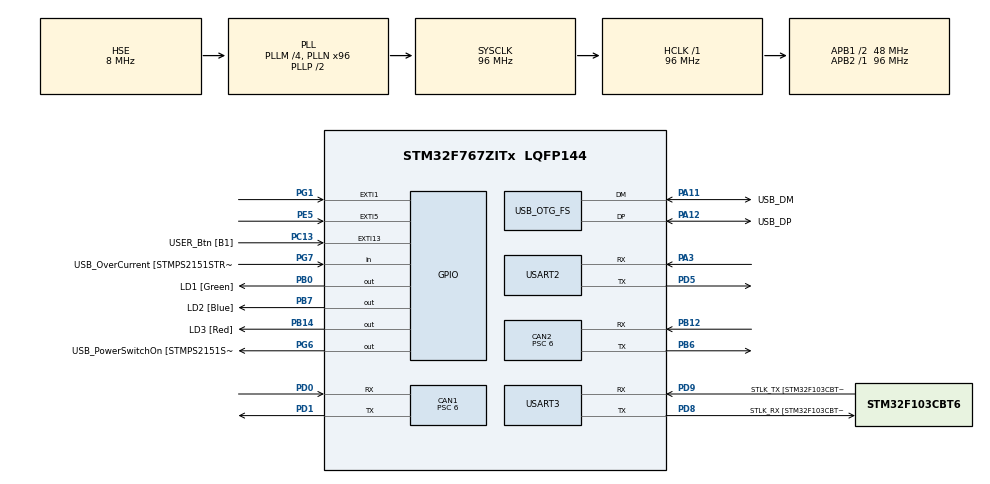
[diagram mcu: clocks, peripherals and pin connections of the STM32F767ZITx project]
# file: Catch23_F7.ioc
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CAN1.BS1=CAN_BS1_6TQ
CAN1.CalculateBaudRate=1000000
CAN1.CalculateTimeBit=1000
CAN1.CalculateTimeQuantum=125.0
CAN1.Prescaler=6
CAN1.TXFP=ENABLE
CAN2.BS1=CAN_BS1_6TQ
CAN2.CalculateBaudRate=1000000
CAN2.CalculateTimeBit=1000
CAN2.CalculateTimeQuantum=125.0
CAN2.Prescaler=6
CAN2.TXFP=ENABLE
Dma.Request0=USART3_RX
Dma.Request1=USART3_TX
Dma.Request2=USART2_RX
Dma.Request3=USART2_TX
Dma.USART2_RX.2.Direction=DMA_PERIPH_TO_MEMORY
Dma.USART2_RX.2.FIFOMode=DMA_FIFOMODE_DISABLE
Dma.USART2_RX.2.Instance=DMA1_Stream5
Dma.USART2_RX.2.MemDataAlignment=DMA_MDATAALIGN_BYTE
Dma.USART2_RX.2.MemInc=DMA_MINC_ENABLE
Dma.USART2_RX.2.Mode=DMA_NORMAL
Dma.USART2_RX.2.PeriphDataAlignment=DMA_PDATAALIGN_BYTE
Dma.USART2_RX.2.PeriphInc=DMA_PINC_DISABLE
Dma.USART2_RX.2.Priority=DMA_PRIORITY_LOW
Dma.USART2_TX.3.Direction=DMA_MEMORY_TO_PERIPH
Dma.USART2_TX.3.FIFOMode=DMA_FIFOMODE_DISABLE
Dma.USART2_TX.3.Instance=DMA1_Stream6
Dma.USART2_TX.3.MemDataAlignment=DMA_MDATAALIGN_BYTE
Dma.USART2_TX.3.MemInc=DMA_MINC_ENABLE
Dma.USART2_TX.3.Mode=DMA_NORMAL
Dma.USART2_TX.3.PeriphDataAlignment=DMA_PDATAALIGN_BYTE
Dma.USART2_TX.3.PeriphInc=DMA_PINC_DISABLE
Dma.USART2_TX.3.Priority=DMA_PRIORITY_LOW
Dma.USART3_RX.0.Direction=DMA_PERIPH_TO_MEMORY
Dma.USART3_RX.0.FIFOMode=DMA_FIFOMODE_DISABLE
Dma.USART3_RX.0.Instance=DMA1_Stream1
Dma.USART3_RX.0.MemDataAlignment=DMA_MDATAALIGN_BYTE
Dma.USART3_RX.0.MemInc=DMA_MINC_ENABLE
Dma.USART3_RX.0.Mode=DMA_CIRCULAR
Dma.USART3_RX.0.PeriphDataAlignment=DMA_PDATAALIGN_BYTE
Dma.USART3_RX.0.PeriphInc=DMA_PINC_DISABLE
Dma.USART3_RX.0.Priority=DMA_PRIORITY_VERY_HIGH
Dma.USART3_TX.1.Direction=DMA_MEMORY_TO_PERIPH
Dma.USART3_TX.1.FIFOMode=DMA_FIFOMODE_DISABLE
Dma.USART3_TX.1.Instance=DMA1_Stream3
Dma.USART3_TX.1.MemDataAlignment=DMA_MDATAALIGN_BYTE
Dma.USART3_TX.1.MemInc=DMA_MINC_ENABLE
Dma.USART3_TX.1.Mode=DMA_NORMAL
Dma.USART3_TX.1.PeriphDataAlignment=DMA_PDATAALIGN_BYTE
Dma.USART3_TX.1.PeriphInc=DMA_PINC_DISABLE
Dma.USART3_TX.1.Priority=DMA_PRIORITY_VERY_HIGH
FREERTOS.Tasks01=mrosTask,40,4500,StartMrosTask,Default,NULL,Static,mrosTaskBuffer,mrosTaskControlBlock;LEDTask,8,512,StartLEDTask,Default,NULL,Static,LEDTaskBuffer,LEDTaskControlBlock
FREERTOS.Timers01=C620Timer,C620TimerCallback,osTimerPeriodic,Default,NULL,Static,C620TimerControlBlock
FREERTOS.configENABLE_FPU=1
Mcu.Family=STM32F7
Mcu.Name=STM32F767ZITx
Mcu.Package=LQFP144
NVIC.CAN1_RX0_IRQn=true\:5\:0\:false\:false\:true\:true\:true\:true\:true
NVIC.CAN1_RX1_IRQn=true\:5\:0\:false\:false\:true\:true\:true\:true\:true
NVIC.CAN1_TX_IRQn=true\:5\:0\:false\:false\:true\:true\:true\:true\:true
NVIC.CAN2_RX0_IRQn=true\:5\:0\:false\:false\:true\:true\:true\:true\:true
NVIC.CAN2_RX1_IRQn=true\:5\:0\:false\:false\:true\:true\:true\:true\:true
NVIC.CAN2_TX_IRQn=true\:5\:0\:false\:false\:true\:true\:true\:true\:true
NVIC.DMA1_Stream1_IRQn=true\:5\:0\:false\:false\:true\:true\:false\:true\:true
NVIC.DMA1_Stream3_IRQn=true\:5\:0\:false\:false\:true\:true\:false\:true\:true
NVIC.DMA1_Stream5_IRQn=true\:5\:0\:false\:false\:true\:true\:false\:true\:true
NVIC.DMA1_Stream6_IRQn=true\:5\:0\:false\:false\:true\:true\:false\:true\:true
NVIC.OTG_FS_IRQn=true\:5\:0\:false\:false\:true\:true\:false\:true\:true
NVIC.PriorityGroup=NVIC_PRIORITYGROUP_4
NVIC.TIM1_UP_TIM10_IRQn=true\:15\:0\:false\:false\:true\:false\:false\:true\:true
NVIC.TimeBase=TIM1_UP_TIM10_IRQn
NVIC.TimeBaseIP=TIM1
NVIC.USART2_IRQn=true\:5\:0\:false\:false\:true\:true\:true\:true\:true
NVIC.USART3_IRQn=true\:5\:0\:false\:false\:true\:true\:true\:true\:true
PA1.GPIO_Label=RMII_REF_CLK [LAN8742A-CZ-TR_REFCLK0]
PA1.Signal=ETH_REF_CLK
PA10.GPIO_Label=USB_ID
PA10.Signal=USB_OTG_FS_ID
PA11.GPIO_Label=USB_DM
PA11.Mode=Device_Only
PA11.Signal=USB_OTG_FS_DM
PA12.GPIO_Label=USB_DP
PA12.Mode=Device_Only
PA12.Signal=USB_OTG_FS_DP
PA13.GPIO_Label=TMS
PA13.Mode=Serial_Wire
PA13.Signal=SYS_JTMS-SWDIO
PA14.GPIO_Label=TCK
PA14.Mode=Serial_Wire
PA14.Signal=SYS_JTCK-SWCLK
PA2.GPIO_Label=RMII_MDIO [LAN8742A-CZ-TR_MDIO]
PA2.Signal=ETH_MDIO
PA3.Mode=Asynchronous
PA3.Signal=USART2_RX
PA7.GPIO_Label=RMII_CRS_DV [LAN8742A-CZ-TR_CRS_DV]
PA7.Signal=ETH_CRS_DV
PA8.GPIO_Label=USB_SOF [TP1]
PA8.Signal=USB_OTG_FS_SOF
PA9.GPIO_Label=USB_VBUS
PA9.Signal=USB_OTG_FS_VBUS
PB0.GPIO_Label=LD1 [Green]
PB0.Signal=GPIO_Output
PB12.Mode=CAN_Activate
PB12.Signal=CAN2_RX
PB13.GPIO_Label=RMII_TXD1 [LAN8742A-CZ-TR_TXD1]
PB13.Signal=ETH_TXD1
PB14.GPIO_Label=LD3 [Red]
PB14.Signal=GPIO_Output
PB3.GPIO_Label=SWO
PB3.Signal=SYS_JTDO-SWO
PB6.GPIO_FM6=__NULL
PB6.Mode=CAN_Activate
PB6.Signal=CAN2_TX
PB7.GPIO_Label=LD2 [Blue]
PB7.Signal=GPIO_Output
PC1.GPIO_Label=RMII_MDC [LAN8742A-CZ-TR_MDC]
PC1.Signal=ETH_MDC
PC13.GPIO_Label=USER_Btn [B1]
PC13.Signal=GPXTI13
PC14/OSC32_IN.Mode=LSE-External-Oscillator
PC14/OSC32_IN.Signal=RCC_OSC32_IN
PC15/OSC32_OUT.Mode=LSE-External-Oscillator
PC15/OSC32_OUT.Signal=RCC_OSC32_OUT
PC4.GPIO_Label=RMII_RXD0 [LAN8742A-CZ-TR_RXD0]
PC4.Signal=ETH_RXD0
PC5.GPIO_Label=RMII_RXD1 [LAN8742A-CZ-TR_RXD1]
PC5.Signal=ETH_RXD1
PD0.Mode=CAN_Activate
PD0.Signal=CAN1_RX
PD1.Mode=CAN_Activate
PD1.Signal=CAN1_TX
PD5.Mode=Asynchronous
PD5.Signal=USART2_TX
PD8.GPIO_Label=STLK_RX [STM32F103CBT6_PA3]
PD8.Mode=Asynchronous
PD8.Signal=USART3_TX
PD9.GPIO_Label=STLK_TX [STM32F103CBT6_PA2]
PD9.Mode=Asynchronous
PD9.Signal=USART3_RX
PE5.Signal=GPXTI5
PG1.Signal=GPXTI1
PG11.GPIO_Label=RMII_TX_EN [LAN8742A-CZ-TR_TXEN]
PG11.Signal=ETH_TX_EN
PG13.GPIO_Label=RMII_TXD0 [LAN8742A-CZ-TR_TXD0]
PG13.Signal=ETH_TXD0
PG6.GPIO_Label=USB_PowerSwitchOn [STMPS2151STR_EN]
PG6.Signal=GPIO_Output
PG7.GPIO_Label=USB_OverCurrent [STMPS2151STR_FAULT]
PG7.Signal=GPIO_Input
PH0/OSC_IN.GPIO_Label=MCO [STM32F103CBT6_PA8]
PH0/OSC_IN.Mode=HSE-External-Oscillator
PH0/OSC_IN.Signal=RCC_OSC_IN
PH1/OSC_OUT.Mode=HSE-External-Oscillator
PH1/OSC_OUT.Signal=RCC_OSC_OUT
ProjectManager.HeapSize=0x200
ProjectManager.StackSize=0x400
ProjectManager.TargetToolchain=STM32CubeIDE
RCC.48MHZClocksFreq_Value=24000000
RCC.AHBFreq_Value=96000000
RCC.APB1CLKDivider=RCC_HCLK_DIV2
RCC.APB1Freq_Value=48000000
RCC.APB1TimFreq_Value=96000000
RCC.APB2Freq_Value=96000000
RCC.APB2TimFreq_Value=96000000
RCC.CortexFreq_Value=96000000
RCC.HCLKFreq_Value=96000000
RCC.HSE_VALUE=8000000
RCC.HSI_VALUE=16000000
RCC.PLLM=4
RCC.PLLMUL=RCC_PLL_MUL9
RCC.PLLN=96
RCC.PLLQ=4
RCC.PRESCALERUSB=RCC_USBCLKSOURCE_PLL_DIV1_5
RCC.SYSCLKFreq_VALUE=96000000
RCC.SYSCLKSource=RCC_SYSCLKSOURCE_PLLCLK
RCC.SYSCLKSourceVirtual=RCC_SYSCLKSOURCE_PLLCLK
RCC.USBFreq_Value=48000000
RCC.VCOOutputFreq_Value=192000000
USART2.VirtualMode-Asynchronous=VM_ASYNC
USART3.VirtualMode-Asynchronous=VM_ASYNC
USB_DEVICE.CLASS_NAME_FS=CDC
USB_DEVICE.VirtualMode-CDC_FS=Cdc
USB_DEVICE.VirtualModeFS=Cdc_FS
USB_OTG_FS.VirtualMode=Device_Only
VP_FREERTOS_VS_CMSIS_V2.Mode=CMSIS_V2
VP_SYS_VS_tim1.Mode=TIM1
VP_USB_DEVICE_VS_USB_DEVICE_CDC_FS.Mode=CDC_FS
board=NUCLEO-F767ZI

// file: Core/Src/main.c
/* USER CODE BEGIN Header */
/**
  ******************************************************************************
  * @file           : main.c
  * @brief          : Main program body
  ******************************************************************************
  * @attention
  *
  * Copyright (c) 2023 STMicroelectronics.
  * All rights reserved.
  *
  * This software is licensed under terms that can be found in the LICENSE file
  * in the root directory of this software component.
  * If no LICENSE file comes with this software, it is provided AS-IS.
  *
  ******************************************************************************
  */
/* USER CODE END Header */
#include "main.h"
#include "cmsis_os.h"
#include "can.h"
#include "dma.h"
#include "usart.h"
#include "usb_device.h"
#include "gpio.h"

/* USER CODE BEGIN Includes */
#include <rmw_microros/rmw_microros.h>
#include "can_utils.h"
#include "stdio.h"

/* USER CODE END Includes */

/* USER CODE BEGIN PD */
#define DISABLE_CAN_WAIT_CONNECT 0
#define DISABLE_C620_WAIT_CONNECT 0
/* USER CODE END PD */

void SystemClock_Config(void);
void MX_FREERTOS_Init(void);
/* USER CODE BEGIN PFP */
#ifdef __GNUC__
#define PUTCHAR_PROTOTYPE int __io_putchar(uint8_t ch)
#else
#define PUTCHAR_PROTOTYPE int fputc(int ch, FILE *f)
#endif /* __GNUC__ */

PUTCHAR_PROTOTYPE {
    HAL_UART_Transmit(&huart2, &ch, 1, 500);
    return ch;
}

void HAL_CAN_TxMailbox0CompleteCallback(CAN_HandleTypeDef *hcan){
    C620_WhenTxMailboxCompleteCallbackCalled(hcan);
    CANLib_WhenTxMailbox0_1_2CompleteCallbackCalled(hcan);
}

void HAL_CAN_TxMailbox0AbortCallback(CAN_HandleTypeDef *hcan){
    C620_WhenTxMailboxAbortCallbackCalled(hcan);
    CANLib_WhenTxMailbox0_1_2AbortCallbackCalled(hcan);
}

void HAL_CAN_TxMailbox1CompleteCallback(CAN_HandleTypeDef *hcan){
    C620_WhenTxMailboxCompleteCallbackCalled(hcan);
    CANLib_WhenTxMailbox0_1_2CompleteCallbackCalled(hcan);
}

void HAL_CAN_TxMailbox1AbortCallback(CAN_HandleTypeDef *hcan){
    C620_WhenTxMailboxAbortCallbackCalled(hcan);
    CANLib_WhenTxMailbox0_1_2AbortCallbackCalled(hcan);
}

void HAL_CAN_TxMailbox2CompleteCallback(CAN_HandleTypeDef *hcan){
    C620_WhenTxMailboxCompleteCallbackCalled(hcan);
    CANLib_WhenTxMailbox0_1_2CompleteCallbackCalled(hcan);
}

void HAL_CAN_TxMailbox2AbortCallback(CAN_HandleTypeDef *hcan){
    C620_WhenTxMailboxAbortCallbackCalled(hcan);
    CANLib_WhenTxMailbox0_1_2AbortCallbackCalled(hcan);
}

void HAL_CAN_RxFifo0MsgPendingCallback(CAN_HandleTypeDef *hcan){
    WhenCANRxFifo0MsgPending(hcan, &num_of_devices);
}

void HAL_CAN_RxFifo1MsgPendingCallback(CAN_HandleTypeDef *hcan){
    C620_WhenCANRxFifo1MsgPending(hcan);
}
/* USER CODE END PFP */

int main(void)
{

  /* MCU Configuration--------------------------------------------------------*/

  /* Reset of all peripherals, Initializes the Flash interface and the Systick. */
  HAL_Init();

  /* Configure the system clock */
  SystemClock_Config();

  /* Initialize all configured peripherals */
  MX_GPIO_Init();
  MX_DMA_Init();
  MX_CAN1_Init();
  MX_CAN2_Init();
  MX_USART3_UART_Init();
  MX_USART2_UART_Init();
  /* USER CODE BEGIN 2 */
    setbuf(stdout, NULL);
    setbuf(stderr, NULL);

    /*
     * ===== CANLib Settings =====
     * */
    HAL_GPIO_TogglePin(GPIOB, GPIO_PIN_14);  // LD3 (RED) ON
    printf("Start Initializing CAN System:Begin\n\r");

    num_of_devices.mcmd3 = NUM_OF_MCMD3;
    num_of_devices.mcmd4 = 0;
//    num_of_devices.mcmd4 = NUM_OF_MCMD4;  // TODO: こっちが正しい
    num_of_devices.air = 2;  // TODO: 2にする

    CAN_SystemInit(&hcan2); // F7のCAN通信のinit
    printf("Start Initializing CAN System:End\n\r");
    if(!DISABLE_CAN_WAIT_CONNECT)CAN_WaitConnect(&num_of_devices);
    HAL_GPIO_TogglePin(GPIOB, GPIO_PIN_7);  // LD2 (Blue) ON

    // mcmd[0] -> z
    if(NUM_OF_MCMD3 != 0) {
        // Z軸
        mcmd_handlers[0].device.node_type = NODE_MCMD3;
        mcmd_handlers[0].device.node_id = 1;
        mcmd_handlers[0].device.device_num = 0;
        mcmd_handlers[0].ctrl_param.ctrl_type = MCMD_CTRL_POS;
        mcmd_handlers[0].ctrl_param.feedback = MCMD_FB_ENABLE;
        mcmd_handlers[0].fb_type = MCMD_FB_POS;
        mcmd_handlers[0].limit_sw_type = LIMIT_SW_NO;
        mcmd_handlers[0].enc_dir = MCMD_DIR_FW;
        mcmd_handlers[0].rot_dir = MCMD_DIR_FW;
        mcmd_handlers[0].calib = CALIBRATION_ENABLE;
        mcmd_handlers[0].ctrl_param.gravity_compensation = GRAVITY_COMPENSATION_DISABLE;
        mcmd_handlers[0].calib_duty = -0.6f;
        mcmd_handlers[0].quant_per_unit = 90.0f / 1024.0f;
        mcmd_handlers[0].ctrl_param.accel_limit = ACCEL_LIMIT_ENABLE;
        mcmd_handlers[0].ctrl_param.accel_limit_size = 5.0f;
        mcmd_handlers[0].ctrl_param.PID_param.kp = 0.12f;

        MCMD_init(&mcmd_handlers[0]);
        MCMD_Calib(&mcmd_handlers[0]);  // キャリブレーションを行う
        HAL_Delay(3000);
        MCMD_SetTarget(&mcmd_handlers[0], 0.0f);  // 目標値(0.0)を設定
        // TODO: 稼働限界は226mm
        MCMD_Control_Enable(&mcmd_handlers[0]);  // 制御開始
    }

    if(NUM_OF_MCMD4 != 0){  // TODO: 後半の0を抜く
        // 整列機構用
        mcmd_handlers[1].device.node_type = NODE_MCMD4;
        mcmd_handlers[1].device.node_id = 2;
        mcmd_handlers[1].device.device_num = 0;
        mcmd_handlers[1].ctrl_param.ctrl_type = MCMD_CTRL_POS;
        mcmd_handlers[1].ctrl_param.feedback = MCMD_FB_ENABLE;
        mcmd_handlers[1].fb_type = MCMD_FB_POS;
        mcmd_handlers[1].limit_sw_type = LIMIT_SW_NO;  // TODO: ok
        mcmd_handlers[1].enc_dir = MCMD_DIR_FW;  // TODO: 確認 (多分ok)
        mcmd_handlers[1].rot_dir = MCMD_DIR_BC;  // TODO: 確認 (多分ok)
        mcmd_handlers[1].calib = CALIBRATION_ENABLE;
        mcmd_handlers[1].ctrl_param.gravity_compensation = GRAVITY_COMPENSATION_DISABLE;
        mcmd_handlers[1].calib_duty = -0.5f;  // TODO: 調整
        mcmd_handlers[1].quant_per_unit = 155.0f / 1024.0f;
        mcmd_handlers[1].ctrl_param.accel_limit = ACCEL_LIMIT_ENABLE;
        mcmd_handlers[1].ctrl_param.accel_limit_size = 5.0f;  // TODO: 調整
        mcmd_handlers[1].ctrl_param.PID_param.kp = 0.12f;

        MCMD_init(&mcmd_handlers[1]);
        MCMD_Calib(&mcmd_handlers[1]);  // キャリブレーションを行う
        HAL_Delay(1500);
        MCMD_SetTarget(&mcmd_handlers[1], 300.0f);  // 目標値(0.0)を設定
        // TODO: 稼働限界は226mm
        MCMD_Control_Enable(&mcmd_handlers[1]);  // 制御開始
    }

    // air cylinder
    if(NUM_OF_AIR != 0) {
        air_devices[0].node_type = NODE_AIR;
        air_devices[0].node_id = 0;
        air_devices[0].device_num = PORT_1;

        air_devices[1].node_type = NODE_AIR;
        air_devices[1].node_id = 1;
        air_devices[1].device_num = PORT_1;

        for (uint8_t j = 0; j < 2; j++) {
            for (uint8_t i = 0; i <= (uint8_t) PORT_8; i++) {
                air_devices[j].device_num = i;
                AirCylinder_Init(&air_devices[j], AIR_OFF);
            }
        }
        air_devices[0].device_num = PORT_1;
        air_devices[1].device_num = PORT_1;
        AirCylinder_SendOutput(&air_devices[0], AIR_ON);
        AirCylinder_SendOutput(&air_devices[1], AIR_OFF);
    }

    /*
    * ===== CANLib_RoboMas Settings =====
    * */
    HAL_GPIO_TogglePin(GPIOB, GPIO_PIN_0);  // LD1 (GREEN) ON
    Init_C620_CAN_System(&hcan1);  // Init CAN System for C620
    C620_Init(c620_dev_info_global, num_of_c620);

    // c620 (theta)
    c620_dev_info_global[0].device_id = 1;  // 1スタートな事に注意
    c620_dev_info_global[0].ctrl_param.accel_limit = C620_ACCEL_LIMIT_ENABLE;
//    c620_dev_info_global[0].ctrl_param.use_internal_offset = C620_USE_OFFSET_POS_CALIB;
    c620_dev_info_global[0].ctrl_param.use_internal_offset = C620_USE_OFFSET_POS_INTERNAL;
    c620_dev_info_global[0].ctrl_param.ctrl_type = C620_CTRL_POS;
    c620_dev_info_global[0].ctrl_param.accel_limit_size = 15.0f;
//    c620_dev_info_global[0].ctrl_param.accel_limit_size = 5.0f;
    c620_dev_info_global[0].ctrl_param.quant_per_rot = 1.0f/19.0f / 3.0f * 3.141592f * 2.0f;  //M3508は19:1
    c620_dev_info_global[0].ctrl_param.rotation = C620_ROT_ACW;

    c620_dev_info_global[0].ctrl_param.pid_vel.kp = 4.5f;  // 位置制御の場合はpid_velに速度制御用のgainを設定する
    c620_dev_info_global[0].ctrl_param.pid_vel.ki = 0.0f;
    c620_dev_info_global[0].ctrl_param.pid_vel.kd = 0.0f;
    c620_dev_info_global[0].ctrl_param.pid_vel.kff = 0.0f;

//    c620_dev_info_global[0].ctrl_param.pid.kp = 10.0f;  // 位置制御用
    c620_dev_info_global[0].ctrl_param.pid.kp = 12.3f;  // 位置制御用
    c620_dev_info_global[0].ctrl_param.pid.ki = 0.16f;
//    c620_dev_info_global[0].ctrl_param.pid.ki = 0.0f;
    c620_dev_info_global[0].ctrl_param.pid.kd = 0.0f;
    c620_dev_info_global[0].ctrl_param.pid.kff = 0.0f;

    // c620 (r)
    c620_dev_info_global[1].device_id = 2;
    c620_dev_info_global[1].ctrl_param.accel_limit = C620_ACCEL_LIMIT_ENABLE;
    c620_dev_info_global[1].ctrl_param.use_internal_offset = C620_USE_OFFSET_POS_INTERNAL;
    c620_dev_info_global[1].ctrl_param.ctrl_type = C620_CTRL_POS;
    c620_dev_info_global[1].ctrl_param.accel_limit_size = 1500.0f;
//    c620_dev_info_global[1].ctrl_param.accel_limit_size = 800.0f;
    c620_dev_info_global[1].ctrl_param.quant_per_rot = 1.0f/19.0f * 300.0f;  //M3508は19:1
    c620_dev_info_global[1].ctrl_param.rotation = C620_ROT_CW;

//    c620_dev_info_global[1].ctrl_param.pid_vel.kp = 0.1f;  // 位置制御の場合はpid_velに速度制御用のgainを設定する  // TODO: これまでのgain
    c620_dev_info_global[1].ctrl_param.pid_vel.kp = 0.15f;  // 位置制御の場合はpid_velに速度制御用のgainを設定する
    c620_dev_info_global[1].ctrl_param.pid_vel.ki = 0.0f;
    c620_dev_info_global[1].ctrl_param.pid_vel.kd = 0.0f;
    c620_dev_info_global[1].ctrl_param.pid_vel.kff = 0.0f;

    c620_dev_info_global[1].ctrl_param.pid.kp = 10.0f;  // 位置制御用
//    c620_dev_info_global[1].ctrl_param.pid.kp = 9.0f;  // 位置制御用
    c620_dev_info_global[1].ctrl_param.pid.ki = 0.05f;
//    c620_dev_info_global[1].ctrl_param.pid.ki = 0.1f;
    c620_dev_info_global[1].ctrl_param.pid.kd = 0.0f;
    c620_dev_info_global[1].ctrl_param.pid.kff = 0.0f;

    for(int i=0; i<num_of_c620; i++)C620_SetTarget(&c620_dev_info_global[i], 0.0f);
    if(!DISABLE_C620_WAIT_CONNECT)C620_WaitForConnect(c620_dev_info_global, num_of_c620);
//    for(int i=0; i<num_of_c620; i++){
//        C620_Calibration(&c620_dev_info_global[i], -2.0f, SWITCH_NO, GPIOG, GPIO_PIN_1, &hcan1);
//        C620_ControlEnable(&(c620_dev_info_global[i]));
//    }
    for(int i=0; i<num_of_c620; i++)C620_ControlEnable(&(c620_dev_info_global[i]));

    HAL_GPIO_TogglePin(GPIOB, GPIO_PIN_14);  // LD3 (RED) -> OFF
    HAL_GPIO_TogglePin(GPIOB, GPIO_PIN_0);  // LD1 (GREEN) -> OFF

  /* USER CODE END 2 */

  /* Init scheduler */
  osKernelInitialize();  /* Call init function for freertos objects (in freertos.c) */
  MX_FREERTOS_Init();

  /* Start scheduler */
  osKernelStart();
  /* We should never get here as control is now taken by the scheduler */
  /* Infinite loop */
  while (1)
  {

  }
}

void SystemClock_Config(void)
{
  RCC_OscInitTypeDef RCC_OscInitStruct = {0};
  RCC_ClkInitTypeDef RCC_ClkInitStruct = {0};

  /** Configure LSE Drive Capability
  */
  HAL_PWR_EnableBkUpAccess();

  /** Configure the main internal regulator output voltage
  */
  __HAL_RCC_PWR_CLK_ENABLE();
  __HAL_PWR_VOLTAGESCALING_CONFIG(PWR_REGULATOR_VOLTAGE_SCALE3);

  /** Initializes the RCC Oscillators according to the specified parameters
  * in the RCC_OscInitTypeDef structure.
  */
  RCC_OscInitStruct.OscillatorType = RCC_OSCILLATORTYPE_HSE;
  RCC_OscInitStruct.HSEState = RCC_HSE_ON;
  RCC_OscInitStruct.PLL.PLLState = RCC_PLL_ON;
  RCC_OscInitStruct.PLL.PLLSource = RCC_PLLSOURCE_HSE;
  RCC_OscInitStruct.PLL.PLLM = 4;
  RCC_OscInitStruct.PLL.PLLN = 96;
  RCC_OscInitStruct.PLL.PLLP = RCC_PLLP_DIV2;
  RCC_OscInitStruct.PLL.PLLQ = 4;
  RCC_OscInitStruct.PLL.PLLR = 2;
  if (HAL_RCC_OscConfig(&RCC_OscInitStruct) != HAL_OK)
  {
    Error_Handler();
  }

  /** Activate the Over-Drive mode
  */
  if (HAL_PWREx_EnableOverDrive() != HAL_OK)
  {
    Error_Handler();
  }

  /** Initializes the CPU, AHB and APB buses clocks
  */
  RCC_ClkInitStruct.ClockType = RCC_CLOCKTYPE_HCLK|RCC_CLOCKTYPE_SYSCLK
                              |RCC_CLOCKTYPE_PCLK1|RCC_CLOCKTYPE_PCLK2;
  RCC_ClkInitStruct.SYSCLKSource = RCC_SYSCLKSOURCE_PLLCLK;
  RCC_ClkInitStruct.AHBCLKDivider = RCC_SYSCLK_DIV1;
  RCC_ClkInitStruct.APB1CLKDivider = RCC_HCLK_DIV2;
  RCC_ClkInitStruct.APB2CLKDivider = RCC_HCLK_DIV1;

  if (HAL_RCC_ClockConfig(&RCC_ClkInitStruct, FLASH_LATENCY_3) != HAL_OK)
  {
    Error_Handler();
  }
}

void HAL_TIM_PeriodElapsedCallback(TIM_HandleTypeDef *htim)
{
  if (htim->Instance == TIM1) {
    HAL_IncTick();
  }
}

void Error_Handler(void)
{
  __disable_irq();
  while (1)
  {
  }
}

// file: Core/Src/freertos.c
/* USER CODE BEGIN Header */
/**
  ******************************************************************************
  * File Name          : freertos.c
  * Description        : Code for freertos applications
  ******************************************************************************
  * @attention
  *
  * Copyright (c) 2023 STMicroelectronics.
  * All rights reserved.
  *
  * This software is licensed under terms that can be found in the LICENSE file
  * in the root directory of this software component.
  * If no LICENSE file comes with this software, it is provided AS-IS.
  *
  ******************************************************************************
  */
/* USER CODE END Header */

#include "FreeRTOS.h"
#include "task.h"
#include "main.h"
#include "cmsis_os.h"

/* USER CODE BEGIN Includes */
#include <rcl/rcl.h>
#include <rcl/error_handling.h>
#include <rosidl_runtime_c/primitives_sequence_functions.h>

#include <rclc/rclc.h>
#include <rclc/executor.h>
#include <uxr/client/transport.h>
#include <rmw_microxrcedds_c/config.h>
#include <rmw_microros/rmw_microros.h>
#include <std_msgs/msg/float32.h>
#include <std_msgs/msg/float32_multi_array.h>
#include <actuator_msgs/msg/c620_feedback.h>
#include <usart.h>

#include "math_utils.h"
#include "can_utils.h"
#include "can.h"
/* USER CODE END Includes */

typedef StaticTask_t osStaticThreadDef_t;
typedef StaticTimer_t osStaticTimerDef_t;

/* USER CODE BEGIN PD */
#define RCCHECK(fn) { rcl_ret_t temp_rc = fn; if((temp_rc != RCL_RET_OK)){printf("Failed status on line %d: %d. Aborting.\n",__LINE__,(int)temp_rc);vTaskDelete(NULL);}}
#define RCSOFTCHECK(fn) { rcl_ret_t temp_rc = fn; if((temp_rc != RCL_RET_OK)){printf("Failed status on line %d: %d. Continuing.\n",__LINE__,(int)temp_rc);}}

bool cubemx_transport_open(struct uxrCustomTransport * transport);
bool cubemx_transport_close(struct uxrCustomTransport * transport);
size_t cubemx_transport_write(struct uxrCustomTransport* transport, const uint8_t * buf, size_t len, uint8_t * err);
size_t cubemx_transport_read(struct uxrCustomTransport* transport, uint8_t* buf, size_t len, int timeout, uint8_t* err);

void * microros_allocate(size_t size, void * state);
void microros_deallocate(void * pointer, void * state);
void * microros_reallocate(void * pointer, size_t size, void * state);
void * microros_zero_allocate(size_t number_of_elements, size_t size_of_element, void * state);
/* USER CODE END PD */

/* USER CODE BEGIN PM */
rcl_publisher_t publisher_mcmd;
rcl_publisher_t publisher_c620_r, publisher_c620_theta;

/* USER CODE END PM */

/* Definitions for mrosTask */
osThreadId_t mrosTaskHandle;
uint32_t mrosTaskBuffer[ 4500 ];
osStaticThreadDef_t mrosTaskControlBlock;
const osThreadAttr_t mrosTask_attributes = {
  .name = "mrosTask",
  .cb_mem = &mrosTaskControlBlock,
  .cb_size = sizeof(mrosTaskControlBlock),
  .stack_mem = &mrosTaskBuffer[0],
  .stack_size = sizeof(mrosTaskBuffer),
  .priority = (osPriority_t) osPriorityHigh,
};
/* Definitions for LEDTask */
osThreadId_t LEDTaskHandle;
uint32_t LEDTaskBuffer[ 512 ];
osStaticThreadDef_t LEDTaskControlBlock;
const osThreadAttr_t LEDTask_attributes = {
  .name = "LEDTask",
  .cb_mem = &LEDTaskControlBlock,
  .cb_size = sizeof(LEDTaskControlBlock),
  .stack_mem = &LEDTaskBuffer[0],
  .stack_size = sizeof(LEDTaskBuffer),
  .priority = (osPriority_t) osPriorityLow,
};
/* Definitions for C620Timer */
osTimerId_t C620TimerHandle;
osStaticTimerDef_t C620TimerControlBlock;
const osTimerAttr_t C620Timer_attributes = {
  .name = "C620Timer",
  .cb_mem = &C620TimerControlBlock,
  .cb_size = sizeof(C620TimerControlBlock),
};

/* USER CODE BEGIN FunctionPrototypes */

void pub_timer_callback_mcmd(rcl_timer_t * timer, int64_t last_call_time){
    RCLC_UNUSED(last_call_time);
    actuator_msgs__msg__ActuatorFeedback feedback_msg;

    if (timer != NULL) {
        if(num_of_devices.mcmd3 != 0 || num_of_devices.mcmd4 != 0){
            uint8_t num_of_mcmd = num_of_devices.mcmd3 + num_of_devices.mcmd4;
            for(uint8_t i = 0; i<num_of_mcmd; i++){
                feedback_msg.device = CAN_Device_to_DeviceInfo(&mcmd_handlers[i].device);
                feedback_msg.fb_type = MCMD_FB_TYPE_to_ActuatorMsg(mcmd_handlers[i].fb_type);
                feedback_msg.fb_data = Get_MCMD_Feedback(&mcmd_handlers[i].device).value;
                RCSOFTCHECK(rcl_publish(&publisher_mcmd, &feedback_msg, NULL));
            }
        }
    }
}

//void pub_timer_callback_c620(rcl_timer_t * timer, int64_t last_call_time){
//    RCLC_UNUSED(last_call_time);
//    actuator_msgs__msg__ActuatorMultipleFeedback feedback_msg_c620;
//    if (timer != NULL) {
//        if(num_of_c620 > 0){
//            for(uint8_t i=1; i<num_of_c620; i++){
//                if(c620_dev_info_global[i].ctrl_param.ctrl_type == C620_CTRL_POS) {
//                    feedback_msg_c620 = Get_C620_ActuatorMultiFB(&c620_dev_info_global[i],
//                                                                 actuator_msgs__msg__ActuatorFeedback__FB_POS);
//                }else if(c620_dev_info_global[i].ctrl_param.ctrl_type == C620_CTRL_VEL){
//                    feedback_msg_c620 = Get_C620_ActuatorMultiFB(&c620_dev_info_global[i],
//                                                                 actuator_msgs__msg__ActuatorFeedback__FB_VEL);
//                }
//                RCSOFTCHECK(rcl_publish(&publisher_c620, &feedback_msg_c620, NULL));
//            }
//        }
//    }
//}

//void pub_timer_callback_c620_vel(rcl_timer_t * timer, int64_t last_call_time){
//    RCLC_UNUSED(last_call_time);
//    if (timer != NULL) {
//        std_msgs__msg__Float32MultiArray vals;
//        std_msgs__msg__Float32MultiArray__init(&vals);
//        rosidl_runtime_c__float__Sequence__init(&(vals.data), 2);
//        static float data[2];
//        for(uint8_t i=0; i<(uint8_t)2; i++){
//            data[i] = Get_C620_FeedbackData(&c620_dev_info_global[i]).velocity;
//        }
//        vals.data.data = data;
//        RCSOFTCHECK(rcl_publish(&publisher_c620_vels, &vals, NULL));
//    }
//}

void pub_timer_callback_c620_theta(rcl_timer_t * timer, int64_t last_call_time){
    RCLC_UNUSED(last_call_time);
    if (timer != NULL) {
        actuator_msgs__msg__C620Feedback fb;
        fb.device = C620_Device_to_DeviceInfo(&c620_dev_info_global[0]);
        C620_FeedbackData fb_data = Get_C620_FeedbackData(&c620_dev_info_global[0]);
        fb.velocity = fb_data.velocity;
        fb.current = fb_data.current;
        fb.position = fb_data.position;
        fb.target_value = c620_dev_info_global[0].ctrl_param._target_value;
        RCSOFTCHECK(rcl_publish(&publisher_c620_theta, &fb, NULL));
    }
}

void pub_timer_callback_c620_r(rcl_timer_t * timer, int64_t last_call_time){
    RCLC_UNUSED(last_call_time);
    if (timer != NULL) {
        actuator_msgs__msg__C620Feedback fb;
        fb.device = C620_Device_to_DeviceInfo(&c620_dev_info_global[1]);
        C620_FeedbackData fb_data = Get_C620_FeedbackData(&c620_dev_info_global[1]);
        fb.velocity = fb_data.velocity;
        fb.current = fb_data.current;
        fb.position = fb_data.position + 325.0f;
//        fb.position = fb_data.position;
        fb.target_value = c620_dev_info_global[1].ctrl_param._target_value + 325.0f;
        RCSOFTCHECK(rcl_publish(&publisher_c620_r, &fb, NULL));
    }
}

void subscription_callback(const void * msgin){
    const actuator_msgs__msg__ActuatorMsg * p_actuator_msg = (const actuator_msgs__msg__ActuatorMsg * )msgin;
    CAN_Device device_info = DeviceInfo_to_CAN_Device(&(p_actuator_msg->device));
    static float _mros_target;

    if(device_info.node_type == NODE_MCMD4 || device_info.node_type == NODE_MCMD3){
        uint8_t device_size = (device_info.node_type == NODE_MCMD3) ? num_of_devices.mcmd3 : num_of_devices.mcmd4;
        MCMD_HandleTypedef* p_h_mcmd;
        for(uint8_t i=0; i < device_size; i++){
            if((mcmd_handlers[i].device.device_num == device_info.device_num) &&
               (mcmd_handlers[i].device.node_id == device_info.node_id)){
                p_h_mcmd = &(mcmd_handlers[i]);
                _mros_target = (float)(p_actuator_msg->target_value);
                MCMD_SetTarget(p_h_mcmd, _mros_target);
                break;
            }
        }
    }else if(p_actuator_msg->device.node_type.node_type == actuator_msgs__msg__NodeType__NODE_C620){
        for(uint8_t i=0; i<num_of_c620; i++){
            if(c620_dev_info_global[i].device_id == p_actuator_msg->device.device_num){
                _mros_target = (float)p_actuator_msg->target_value;
                C620_SetTarget(&c620_dev_info_global[i], _mros_target);
                break;
            }
        }
    }else if(p_actuator_msg->device.node_type.node_type == actuator_msgs__msg__NodeType__NODE_AIR){
        for(uint8_t i=0; i<NUM_OF_AIR; i++){
            if((air_devices[i].node_id == p_actuator_msg->device.node_id) && (air_devices[i].device_num == p_actuator_msg->device.device_num)){
                if((uint8_t)(p_actuator_msg->air_target) == 1){
                    AirCylinder_SendOutput(&(air_devices[i]), AIR_ON);
                }else{
                    AirCylinder_SendOutput(&(air_devices[i]), AIR_OFF);
                }
                break;
            }
        }
    }
}

void subscription_callback_r(const void * msgin) {
    const std_msgs__msg__Float32 *p_target_value = (const std_msgs__msg__Float32 *)msgin;
    static float _mros_target;
    _mros_target = p_target_value->data - 325.0f;
    // _mros_target = 0.0f;
    C620_SetTarget(&c620_dev_info_global[1], _mros_target);
}

void subscription_callback_theta(const void * msgin) {
    const std_msgs__msg__Float32 *p_target_value = (const std_msgs__msg__Float32 *)msgin;
    static float _mros_target;
    _mros_target = p_target_value->data;
    // _mros_target = 0.0f;
    C620_SetTarget(&c620_dev_info_global[0], _mros_target);
}

/* USER CODE END FunctionPrototypes */

void StartMrosTask(void *argument);
void StartLEDTask(void *argument);
void C620TimerCallback(void *argument);

extern void MX_USB_DEVICE_Init(void);
void MX_FREERTOS_Init(void); /* (MISRA C 2004 rule 8.1) */

void MX_FREERTOS_Init(void) {

  /* Create the timer(s) */
  /* creation of C620Timer */
  C620TimerHandle = osTimerNew(C620TimerCallback, osTimerPeriodic, NULL, &C620Timer_attributes);

  /* USER CODE BEGIN RTOS_TIMERS */
  /* start timers, add new ones, ... */
  osTimerStart(C620TimerHandle, 1);
  /* USER CODE END RTOS_TIMERS */

  /* Create the thread(s) */
  /* creation of mrosTask */
  mrosTaskHandle = osThreadNew(StartMrosTask, NULL, &mrosTask_attributes);

  /* creation of LEDTask */
  LEDTaskHandle = osThreadNew(StartLEDTask, NULL, &LEDTask_attributes);

}

void StartMrosTask(void *argument)
{
  /* init code for USB_DEVICE */
  MX_USB_DEVICE_Init();
  /* USER CODE BEGIN StartMrosTask */
    rmw_uros_set_custom_transport(
            true,
            (void *) &huart3,
            cubemx_transport_open,
            cubemx_transport_close,
            cubemx_transport_write,
            cubemx_transport_read);

    // micro-ROS connection check
    HAL_GPIO_TogglePin(GPIOB, GPIO_PIN_14);  // LD3 (RED) -> ON
    while(1) {
        rmw_ret_t ping_result = rmw_uros_ping_agent(1000, 5);  // ping Agent
        if(ping_result == RMW_RET_OK){
            break;
        }
    }
    HAL_GPIO_TogglePin(GPIOB, GPIO_PIN_14);  // LD3 (RED) -> OFF

    rcl_allocator_t freeRTOS_allocator = rcutils_get_zero_initialized_allocator();
    freeRTOS_allocator.allocate = microros_allocate;
    freeRTOS_allocator.deallocate = microros_deallocate;
    freeRTOS_allocator.reallocate = microros_reallocate;
    freeRTOS_allocator.zero_allocate =  microros_zero_allocate;

    if (!rcutils_set_default_allocator(&freeRTOS_allocator)) {
        printf("Error on default allocators (line %d)\n", __LINE__);
    }
    printf("start Micro-ROS Task\n");

    // micro-ROS app
    rclc_support_t support;
    rcl_allocator_t allocator = rcl_get_default_allocator();
    rcl_node_t node;

    // node setting
    RCCHECK(rclc_support_init(&support, 0, NULL, &allocator));  //create init_options
    RCCHECK(rclc_node_init_default(&node, "f7_mros_node", "", &support));  // create node

    // create executor
    rclc_executor_t executor;
    unsigned int num_handlers = 6; // TODO : 忘れずに変更
    RCCHECK(rclc_executor_init(&executor, &support.context, num_handlers, &allocator));

    // create subscriber for r
    rcl_subscription_t subscriber_r;
    const char* sub_name_r = "mros_input_r";
    std_msgs__msg__Float32 actuator_msg_r;
    RCCHECK(rclc_subscription_init_default(&subscriber_r, &node, ROSIDL_GET_MSG_TYPE_SUPPORT(std_msgs, msg, Float32), sub_name_r));
    RCCHECK(rclc_executor_add_subscription(&executor, &subscriber_r, &actuator_msg_r, &subscription_callback_r, ON_NEW_DATA));

    // create subscriber for theta
    rcl_subscription_t subscriber_theta;
    const char* sub_name_theta = "mros_input_theta";
    std_msgs__msg__Float32 actuator_msg_theta;
    RCCHECK(rclc_subscription_init_default(&subscriber_theta, &node, ROSIDL_GET_MSG_TYPE_SUPPORT(std_msgs, msg, Float32), sub_name_theta));
    RCCHECK(rclc_executor_add_subscription(&executor, &subscriber_theta, &actuator_msg_theta, &subscription_callback_theta, ON_NEW_DATA));

    // create subscriber for can modules
    rcl_subscription_t subscriber;
    const char* topic_name_sub = "mros_input";
    actuator_msgs__msg__ActuatorMsg actuator_msg;
    RCCHECK(rclc_subscription_init_default(&subscriber, &node, ROSIDL_GET_MSG_TYPE_SUPPORT(actuator_msgs, msg, ActuatorMsg), topic_name_sub));
    RCCHECK(rclc_executor_add_subscription(&executor, &subscriber, &actuator_msg, &subscription_callback, ON_NEW_DATA));

    // publisher for mcmd
    const char* topic_name_pub_mcmd = "mros_output_mcmd";
    RCCHECK(rclc_publisher_init_default(&publisher_mcmd, &node, ROSIDL_GET_MSG_TYPE_SUPPORT(actuator_msgs, msg, ActuatorFeedback), topic_name_pub_mcmd));
    rcl_timer_t timer_mcmd;
    RCCHECK(rclc_timer_init_default(&timer_mcmd, &support, RCL_MS_TO_NS(45), pub_timer_callback_mcmd));
    RCCHECK(rclc_executor_add_timer(&executor, &timer_mcmd));

    // publisher for c620 r
    RCCHECK(rclc_publisher_init_default(&publisher_c620_r, &node, ROSIDL_GET_MSG_TYPE_SUPPORT(actuator_msgs, msg, C620Feedback), "c620_r"));
    rcl_timer_t timer_c620_r;
    RCCHECK(rclc_timer_init_default(&timer_c620_r, &support, RCL_MS_TO_NS(33), pub_timer_callback_c620_r));
    RCCHECK(rclc_executor_add_timer(&executor, &timer_c620_r));

    // publisher for c620 theta
    RCCHECK(rclc_publisher_init_default(&publisher_c620_theta, &node, ROSIDL_GET_MSG_TYPE_SUPPORT(actuator_msgs, msg, C620Feedback), "c620_theta"));
    rcl_timer_t timer_c620_theta;
    RCCHECK(rclc_timer_init_default(&timer_c620_theta, &support, RCL_MS_TO_NS(33), pub_timer_callback_c620_theta));
    RCCHECK(rclc_executor_add_timer(&executor, &timer_c620_theta));

//    rmw_ret_t state;
//    while(1){
//        state = rmw_uros_ping_agent(100, 1);
//        if(state == RMW_RET_OK){
//            rclc_executor_spin_some(&executor, RCL_MS_TO_NS(100));
//        }else{
//            HAL_GPIO_WritePin(GPIOB, GPIO_PIN_14, GPIO_PIN_SET);  // LD3 (RED) -> ON
//        }
//    }
    rclc_executor_spin(&executor);

    // free resources
    RCCHECK(rclc_executor_fini(&executor));
    RCCHECK(rcl_subscription_fini(&subscriber, &node));
    RCCHECK(rcl_subscription_fini(&subscriber_r, &node));
    RCCHECK(rcl_subscription_fini(&subscriber_theta, &node));
    RCCHECK(rcl_publisher_fini(&publisher_mcmd, &node))
    RCCHECK(rcl_publisher_fini(&publisher_c620_theta, &node))
    RCCHECK(rcl_publisher_fini(&publisher_c620_r, &node))
    RCCHECK(rcl_timer_fini(&timer_c620_r));
    RCCHECK(rcl_timer_fini(&timer_c620_theta));
    RCCHECK(rcl_timer_fini(&timer_mcmd));
    RCCHECK(rcl_node_fini(&node));
  /* USER CODE END StartMrosTask */
}

void StartLEDTask(void *argument)
{
  /* USER CODE BEGIN StartLEDTask */
    while (1){
        HAL_GPIO_TogglePin(GPIOB, GPIO_PIN_7);  // LD2 (Blue)
        osDelay(100);
    }
  /* USER CODE END StartLEDTask */
}

/* C620TimerCallback function */
void C620TimerCallback(void *argument)
{
  /* USER CODE BEGIN C620TimerCallback */
    C620_SendRequest(c620_dev_info_global, 2, 1000.0f, &hcan1);
  /* USER CODE END C620TimerCallback */
}
